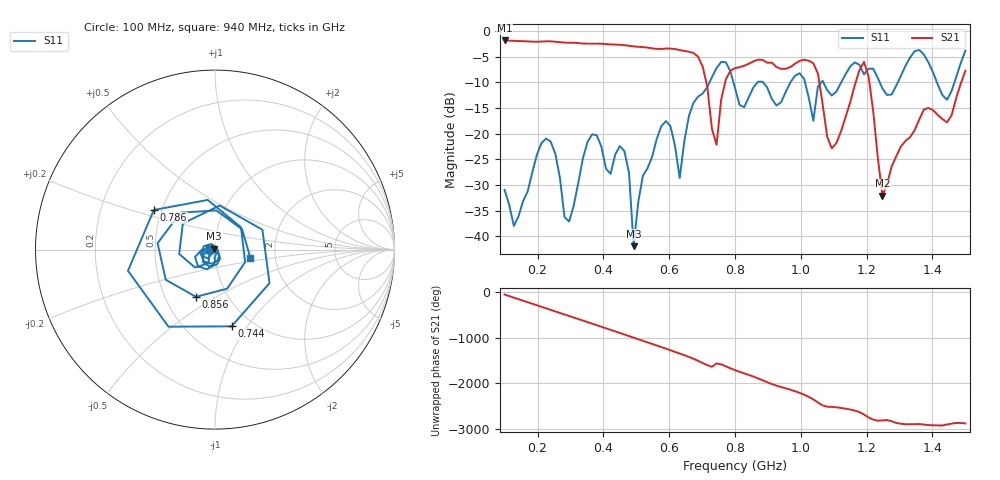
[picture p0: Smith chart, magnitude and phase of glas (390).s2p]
! NanoVNA-App
! Date: 2025-09-25 15:58:30
! Start: 100MHz Stop: 1,5GHz Points: 101
! S-Parameter data: F S11 S21 S12 S22
# Hz S RI R 50
!  Frequency  S11_Real  S11_Imag  S21_Real  S21_Imag  S12_Real  S12_Imag  S22_Real  S22_Imag
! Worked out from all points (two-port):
!   101 points, 100 MHz to 1.5 GHz, reference 50 ohm
!   highest |S21| = -1.80 dB at 100 MHz (marker M1); lowest = -32.1 dB at 1.248 GHz (marker M2)
!   |S21| within 3 dB of the highest: start of sweep to 684.6 MHz
!   lowest |S11| = -41.9 dB at 492 MHz (marker M3), VSWR 1.02, Z = 49.5 + j0.603 ohm
!   |S11| at or under -10 dB: start of sweep to 722.3 MHz; 795.4 MHz to 868.1 MHz (72.67 MHz wide, 8.74 % of centre); 885.8 MHz to 968.1 MHz (82.28 MHz wide, 8.88 % of centre) (the widest 3 of 7)
!   S12 and S22 are empty: the file has one direction only
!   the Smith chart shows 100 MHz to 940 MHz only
!   S11 on the Smith chart (normalised r, x): 100 MHz: 0.95, -0.01; 744 MHz: 0.80, -0.85; 786 MHz: 0.45, +0.24; 856 MHz: 0.71, -0.41; 940 MHz: 1.48, -0.15
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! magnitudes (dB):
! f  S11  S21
! 100 MHz  -30.9  -1.8
! 128 MHz  -38.0  -1.9
! 226 MHz  -20.9  -2.0
! 296 MHz  -37.1  -2.2
! 338 MHz  -24.7  -2.4
! 464 MHz  -23.4  -2.7
! 492 MHz  -41.9  -3.0
! 576 MHz  -18.5  -3.5
! 632 MHz  -28.6  -3.7
! 702 MHz  -12.1  -6.9
! 744 MHz  -7.2  -22.1
! 786 MHz  -7.8  -7.7
! 800 MHz  -11.1  -7.2
! 856 MHz  -10.9  -5.9
! 940 MHz  -13.8  -7.3
! 996 MHz  -8.2  -5.8
! 1.038 GHz  -17.5  -6.2
! 1.094 GHz  -12.5  -22.8
! 1.192 GHz  -8.4  -6.0
! 1.248 GHz  -11.2  -32.1
! 1.276 GHz  -12.3  -26.3
! 1.5 GHz  -3.8  -7.7
